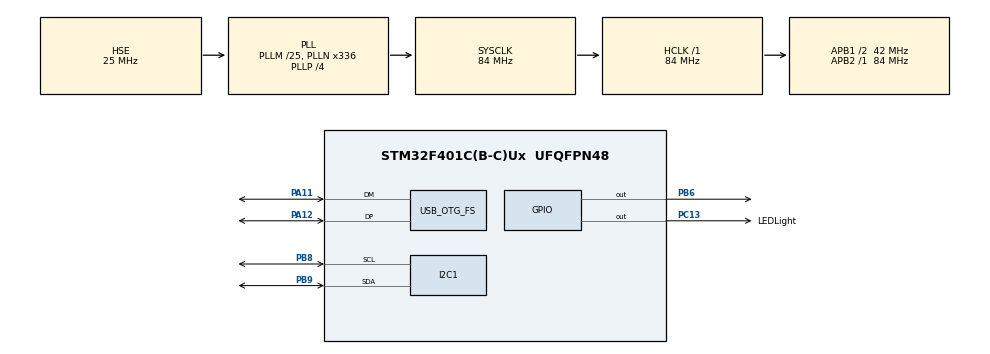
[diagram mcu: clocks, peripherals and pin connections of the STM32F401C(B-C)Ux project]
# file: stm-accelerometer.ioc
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Mcu.Family=STM32F4
Mcu.Name=STM32F401C(B-C)Ux
Mcu.Package=UFQFPN48
NVIC.OTG_FS_IRQn=true\:0\:0\:false\:false\:true\:false\:true\:true
NVIC.PriorityGroup=NVIC_PRIORITYGROUP_4
PA11.Mode=Device_Only
PA11.Signal=USB_OTG_FS_DM
PA12.Mode=Device_Only
PA12.Signal=USB_OTG_FS_DP
PB6.PinState=GPIO_PIN_SET
PB6.Signal=GPIO_Output
PB8.Mode=I2C
PB8.Signal=I2C1_SCL
PB9.Mode=I2C
PB9.Signal=I2C1_SDA
PC13-ANTI_TAMP.GPIO_Label=LEDLight
PC13-ANTI_TAMP.PinState=GPIO_PIN_RESET
PC13-ANTI_TAMP.Signal=GPIO_Output
PC14-OSC32_IN.Mode=LSE-External-Oscillator
PC14-OSC32_IN.Signal=RCC_OSC32_IN
PC15-OSC32_OUT.Mode=LSE-External-Oscillator
PC15-OSC32_OUT.Signal=RCC_OSC32_OUT
PH0\ -\ OSC_IN.Mode=HSE-External-Oscillator
PH0\ -\ OSC_IN.Signal=RCC_OSC_IN
PH1\ -\ OSC_OUT.Mode=HSE-External-Oscillator
PH1\ -\ OSC_OUT.Signal=RCC_OSC_OUT
ProjectManager.HeapSize=0x200
ProjectManager.StackSize=0x400
ProjectManager.TargetToolchain=STM32CubeIDE
RCC.48MHZClocksFreq_Value=48000000
RCC.AHBFreq_Value=84000000
RCC.APB1CLKDivider=RCC_HCLK_DIV2
RCC.APB1Freq_Value=42000000
RCC.APB1TimFreq_Value=84000000
RCC.APB2Freq_Value=84000000
RCC.APB2TimFreq_Value=84000000
RCC.CortexFreq_Value=84000000
RCC.HCLKFreq_Value=84000000
RCC.HSE_VALUE=25000000
RCC.HSI_VALUE=16000000
RCC.PLLM=25
RCC.PLLN=336
RCC.PLLP=RCC_PLLP_DIV4
RCC.PLLQ=7
RCC.SYSCLKFreq_VALUE=84000000
RCC.SYSCLKSource=RCC_SYSCLKSOURCE_PLLCLK
RCC.VCOOutputFreq_Value=336000000
USB_DEVICE.CLASS_NAME_FS=CDC
USB_DEVICE.VirtualMode=Cdc
USB_DEVICE.VirtualModeFS=Cdc_FS
USB_OTG_FS.VirtualMode=Device_Only
VP_USB_DEVICE_VS_USB_DEVICE_CDC_FS.Mode=CDC_FS
board=custom

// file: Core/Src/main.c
/* USER CODE BEGIN Header */
/**
  ******************************************************************************
  * @file           : main.c
  * @brief          : Main program body
  ******************************************************************************
  * @attention
  *
  * Copyright (c) 2025 STMicroelectronics.
  * All rights reserved.
  *
  * This software is licensed under terms that can be found in the LICENSE file
  * in the root directory of this software component.
  * If no LICENSE file comes with this software, it is provided AS-IS.
  *
  ******************************************************************************
  */
/* USER CODE END Header */
#include "main.h"
#include "i2c.h"
#include "usb_device.h"
#include "gpio.h"

/* USER CODE BEGIN PD */
#define MPU6050_ADDR 0xD0
/* USER CODE END PD */

void SystemClock_Config(void);
/* USER CODE BEGIN PFP */
extern uint8_t CDC_Transmit_FS(uint8_t* Buf, uint16_t Len);

/* USER CODE END PFP */

int main(void)
{

  /* MCU Configuration--------------------------------------------------------*/

  /* Reset of all peripherals, Initializes the Flash interface and the Systick. */
  HAL_Init();

  /* Configure the system clock */
  SystemClock_Config();

  /* Initialize all configured peripherals */
  MX_GPIO_Init();
  MX_I2C1_Init();
  MX_USB_DEVICE_Init();
  /* USER CODE BEGIN 2 */

  uint8_t result = 0x0;
  HAL_I2C_Mem_Read (&hi2c1, MPU6050_ADDR, 0x75, 1, &result, 1, 100);
  HAL_Delay (1000);

  if (result == 0x68) {
	  uint8_t send[] = "the device was found\r\n";
	  CDC_Transmit_FS (send, (uint16_t)sizeof(send));
	  HAL_Delay (10);
	  uint8_t data;
	  data = 0x00;
	  HAL_I2C_Mem_Write (&hi2c1, MPU6050_ADDR, 0x6B, 1, &data, 1, 500); //initialize mpu clock
	  data = 0x07;
	  HAL_I2C_Mem_Write (&hi2c1, MPU6050_ADDR, 0x19, 1, &data, 1, 500); //measurement poll rate of 1 khz
	  data = 0b00001000;
	  HAL_I2C_Mem_Write (&hi2c1, MPU6050_ADDR, 0x1C, 1, &data, 1, 500); //accel set to [-4g, 4g]
	  data = 0x00;
	  HAL_I2C_Mem_Write (&hi2c1, MPU6050_ADDR, 0x1B, 1, &data, 1, 500); //gyro set to [-250degree/sec, 250degree/sec]
  } else {
	  uint8_t send[] = "          \r\n";
	  itoa(result, (char*)send, 10);
	  HAL_Delay (10);
	  CDC_Transmit_FS (send, sizeof(send));
	  HAL_Delay (10);
	  uint8_t errormessage[] = "there was an error\r\n";
	  CDC_Transmit_FS (errormessage, sizeof(errormessage));
	  HAL_Delay (10);
  }

  /* USER CODE END 2 */

  /* Infinite loop */
  while (1)
  {

    /* USER CODE BEGIN 3 */
	  //HAL_GPIO_TogglePin (GPIOC, GPIO_PIN_13);
	  //HAL_Delay (150);

	  uint8_t acceldata[] = {0, 0, 0, 0, 0, 0};
	  HAL_I2C_Mem_Read (&hi2c1, MPU6050_ADDR, 0x3B, 1, acceldata, 6, 1000);
	  HAL_Delay(100);
	  if ((acceldata[2] == 0) && (acceldata[3] == 0)) {
		  uint8_t erroraccel[] = "error getting data\r\n";
		  CDC_Transmit_FS (erroraccel, sizeof(erroraccel));
	  }
	  int16_t rawx = (uint16_t)(acceldata[0] << 8 | acceldata[1]);
	  int16_t rawy = (uint16_t)(acceldata[2] << 8 | acceldata[3]);
	  int16_t rawz = (uint16_t)(acceldata[4] << 8 | acceldata[5]);
	  HAL_Delay(50);
	  uint8_t bufferx[] = "        : x\r\n";
	  uint8_t buffery[] = "        : y\r\n";
	  uint8_t bufferz[] = "        : z\r\n\r\n";
	  itoa(rawx, (char*)bufferx, 10);
	  itoa(rawy, (char*)buffery, 10);
	  itoa(rawz, (char*)bufferz, 10);
	  CDC_Transmit_FS (bufferx, sizeof(bufferx));
	  HAL_Delay(2);
	  CDC_Transmit_FS (buffery, sizeof(buffery));
	  HAL_Delay(2);
	  CDC_Transmit_FS (bufferz, sizeof(bufferz));
	  HAL_Delay(20);

  }
  /* USER CODE END 3 */
}

void SystemClock_Config(void)
{
  RCC_OscInitTypeDef RCC_OscInitStruct = {0};
  RCC_ClkInitTypeDef RCC_ClkInitStruct = {0};

  /** Configure the main internal regulator output voltage
  */
  __HAL_RCC_PWR_CLK_ENABLE();
  __HAL_PWR_VOLTAGESCALING_CONFIG(PWR_REGULATOR_VOLTAGE_SCALE2);

  /** Initializes the RCC Oscillators according to the specified parameters
  * in the RCC_OscInitTypeDef structure.
  */
  RCC_OscInitStruct.OscillatorType = RCC_OSCILLATORTYPE_HSE;
  RCC_OscInitStruct.HSEState = RCC_HSE_ON;
  RCC_OscInitStruct.PLL.PLLState = RCC_PLL_ON;
  RCC_OscInitStruct.PLL.PLLSource = RCC_PLLSOURCE_HSE;
  RCC_OscInitStruct.PLL.PLLM = 25;
  RCC_OscInitStruct.PLL.PLLN = 336;
  RCC_OscInitStruct.PLL.PLLP = RCC_PLLP_DIV4;
  RCC_OscInitStruct.PLL.PLLQ = 7;
  if (HAL_RCC_OscConfig(&RCC_OscInitStruct) != HAL_OK)
  {
    Error_Handler();
  }

  /** Initializes the CPU, AHB and APB buses clocks
  */
  RCC_ClkInitStruct.ClockType = RCC_CLOCKTYPE_HCLK|RCC_CLOCKTYPE_SYSCLK
                              |RCC_CLOCKTYPE_PCLK1|RCC_CLOCKTYPE_PCLK2;
  RCC_ClkInitStruct.SYSCLKSource = RCC_SYSCLKSOURCE_PLLCLK;
  RCC_ClkInitStruct.AHBCLKDivider = RCC_SYSCLK_DIV1;
  RCC_ClkInitStruct.APB1CLKDivider = RCC_HCLK_DIV2;
  RCC_ClkInitStruct.APB2CLKDivider = RCC_HCLK_DIV1;

  if (HAL_RCC_ClockConfig(&RCC_ClkInitStruct, FLASH_LATENCY_2) != HAL_OK)
  {
    Error_Handler();
  }
}

void Error_Handler(void)
{
  __disable_irq();
  while (1)
  {
  }
}
